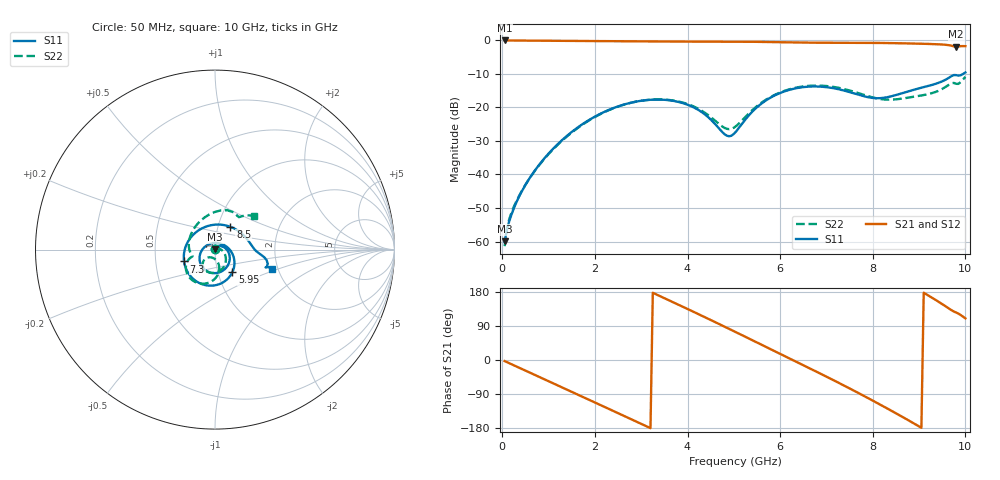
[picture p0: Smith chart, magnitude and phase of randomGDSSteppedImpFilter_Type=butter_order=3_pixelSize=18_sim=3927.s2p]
! freq	dB(S11)	phase(S11)	dB(S12)	phase(S12)
!  dB(S21)	phase(S21)	dB(S22)	phase(S22)
!S-par simulation data
#  GHz  S  DB  R 50
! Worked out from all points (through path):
!   200 points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, 50 MHz to 10 GHz, reference 50 ohm
!   highest |S21| = 0.00 dB at 50 MHz (marker M1); lowest = -1.9 dB at 9.8 GHz (marker M2)
!   group delay of S21, straight-line fit = 167 ps
!   lowest |S11| = -60.0 dB at 50 MHz (marker M3), VSWR 1.00, Z = 50 + j0.088 ohm
!   |S11| at or under -10 dB: start of sweep to 9.951 GHz
!   |S22| runs from -61.4 to -10.9 dB; largest |S21 - S12| = 0
!   S11 on the Smith chart (normalised r, x): 50 MHz: 1.00, +0.00; 5.95 GHz: 1.17, -0.30; 7.3 GHz: 0.70, -0.10; 8.5 GHz: 1.15, +0.30; 10 GHz: 1.85, -0.44
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0.05  -59.99 61.4  -0.00 -2.8  -0.00 -2.8  -61.39 71.6
0.1  -56.41 63.0  -0.01 -5.6  -0.01 -5.6  -56.18 66.5
0.2  -51.90 70.6  -0.02 -11.3  -0.02 -11.3  -51.32 59.6
0.55  -41.95 72.5  -0.04 -30.8  -0.04 -30.8  -41.96 41.9
1.2  -30.91 41.9  -0.08 -67.2  -0.08 -67.2  -31.09 6.1
1.75  -24.81 8.1  -0.13 -98.1  -0.13 -98.1  -24.96 -21.8
2.2  -21.34 -20.3  -0.18 -123.4  -0.18 -123.4  -21.43 -44.2
2.65  -19.03 -48.9  -0.23 -148.7  -0.23 -148.7  -19.07 -66.5
3.4  -17.64 -97.1  -0.31 168.9  -0.31 168.9  -17.60 -102.3
4.3  -21.32 -163.9  -0.34 117.3  -0.34 117.3  -20.91 -135.4
4.85  -28.43 107.2  -0.34 85.0  -0.34 85.0  -26.38 -114.0
5.05  -27.15 51.3  -0.35 73.1  -0.35 73.1  -25.54 -90.1
5.5  -19.93 -14.3  -0.41 46.2  -0.41 46.2  -19.60 -76.8
5.95  -15.97 -52.6  -0.51 19.2  -0.51 19.2  -15.81 -90.1
6.7  -13.74 -109.2  -0.67 -25.8  -0.67 -25.8  -13.49 -122.3
7.3  -14.68 -159.1  -0.71 -62.5  -0.71 -62.5  -14.24 -146.7
7.85  -16.79 140.4  -0.72 -97.4  -0.72 -97.4  -16.41 -160.6
8.35  -16.83 73.5  -0.78 -130.4  -0.78 -130.4  -17.68 -163.7
8.5  -16.29 55.9  -0.81 -140.6  -0.81 -140.6  -17.58 -165.9
9.15  -13.76 6.5  -1.02 173.9  -1.02 173.9  -16.16 153.5
9.8  -10.34 -18.6  -1.85 125.4  -1.85 125.4  -12.94 56.1
10  -9.55 -18.6  -1.70 109.9  -1.70 109.9  -10.87 41.4
